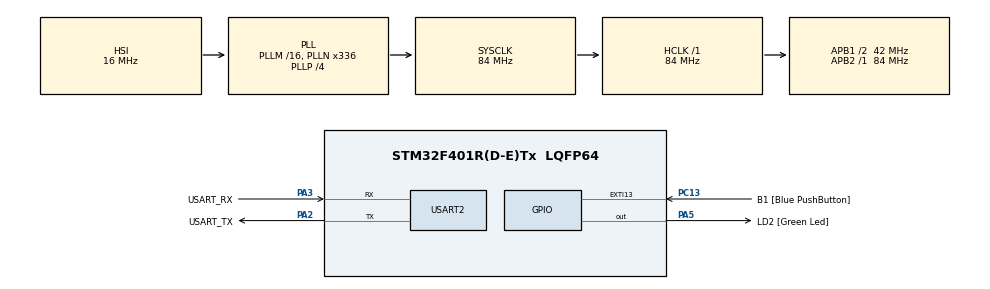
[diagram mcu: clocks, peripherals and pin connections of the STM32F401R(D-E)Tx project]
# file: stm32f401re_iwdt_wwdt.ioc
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Mcu.Family=STM32F4
Mcu.Name=STM32F401R(D-E)Tx
Mcu.Package=LQFP64
NVIC.PriorityGroup=NVIC_PRIORITYGROUP_4
PA13.GPIO_Label=TMS
PA13.Mode=Trace_Asynchronous_SW
PA13.Signal=SYS_JTMS-SWDIO
PA14.GPIO_Label=TCK
PA14.Mode=Trace_Asynchronous_SW
PA14.Signal=SYS_JTCK-SWCLK
PA2.GPIO_Label=USART_TX
PA2.GPIO_Mode=GPIO_MODE_AF_PP
PA2.GPIO_PuPd=GPIO_NOPULL
PA2.GPIO_Speed=GPIO_SPEED_FREQ_LOW
PA2.Mode=Asynchronous
PA2.Signal=USART2_TX
PA3.GPIO_Label=USART_RX
PA3.GPIO_Mode=GPIO_MODE_AF_PP
PA3.GPIO_PuPd=GPIO_NOPULL
PA3.GPIO_Speed=GPIO_SPEED_FREQ_LOW
PA3.Mode=Asynchronous
PA3.Signal=USART2_RX
PA5.GPIO_Label=LD2 [Green Led]
PA5.GPIO_Mode=GPIO_MODE_OUTPUT_PP
PA5.GPIO_PuPd=GPIO_NOPULL
PA5.GPIO_Speed=GPIO_SPEED_FREQ_LOW
PA5.Signal=GPIO_Output
PB3.GPIO_Label=SWO
PB3.Mode=Trace_Asynchronous_SW
PB3.Signal=SYS_JTDO-SWO
PC13-ANTI_TAMP.GPIO_Label=B1 [Blue PushButton]
PC13-ANTI_TAMP.GPIO_ModeDefaultEXTI=GPIO_MODE_IT_FALLING
PC13-ANTI_TAMP.GPIO_PuPd=GPIO_NOPULL
PC13-ANTI_TAMP.Signal=GPXTI13
PC14-OSC32_IN.Mode=LSE-External-Oscillator
PC14-OSC32_IN.Signal=RCC_OSC32_IN
PC15-OSC32_OUT.Mode=LSE-External-Oscillator
PC15-OSC32_OUT.Signal=RCC_OSC32_OUT
PH0\ -\ OSC_IN.Mode=HSE-External-Clock-Source
PH0\ -\ OSC_IN.Signal=RCC_OSC_IN
PH1\ -\ OSC_OUT.Mode=HSE-External-Clock-Source
PH1\ -\ OSC_OUT.Signal=RCC_OSC_OUT
ProjectManager.HeapSize=0x200
ProjectManager.StackSize=0x400
ProjectManager.TargetToolchain=STM32CubeIDE
RCC.48MHZClocksFreq_Value=48000000
RCC.AHBFreq_Value=84000000
RCC.APB1CLKDivider=RCC_HCLK_DIV2
RCC.APB1Freq_Value=42000000
RCC.APB1TimFreq_Value=84000000
RCC.APB2Freq_Value=84000000
RCC.APB2TimFreq_Value=84000000
RCC.CortexFreq_Value=84000000
RCC.HCLKFreq_Value=84000000
RCC.HSE_VALUE=8000000
RCC.HSI_VALUE=16000000
RCC.PLLN=336
RCC.PLLP=RCC_PLLP_DIV4
RCC.PLLQ=7
RCC.SYSCLKFreq_VALUE=84000000
RCC.SYSCLKSource=RCC_SYSCLKSOURCE_PLLCLK
RCC.VCOOutputFreq_Value=336000000
USART2.VirtualMode=VM_ASYNC
VP_WWDG_VS_WWDG.Mode=WWDG_Activate
WWDG.Counter=127
WWDG.Prescaler=WWDG_PRESCALER_8
WWDG.Window=80
board=NUCLEO-F401RE

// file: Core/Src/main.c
/* USER CODE BEGIN Header */
/**
  ******************************************************************************
  * @file           : main.c
  * @brief          : Main program body
  ******************************************************************************
  * @attention
  *
  * Copyright (c) 2025 STMicroelectronics.
  * All rights reserved.
  *
  * This software is licensed under terms that can be found in the LICENSE file
  * in the root directory of this software component.
  * If no LICENSE file comes with this software, it is provided AS-IS.
  *
  ******************************************************************************
  */
/* USER CODE END Header */
#include "main.h"

UART_HandleTypeDef huart2;

WWDG_HandleTypeDef hwwdg;

void SystemClock_Config(void);
static void MX_GPIO_Init(void);
static void MX_USART2_UART_Init(void);
static void MX_WWDG_Init(void);

/* USER CODE BEGIN 0 */
int _write(int file, char *ptr, int len)
{
    HAL_UART_Transmit(&huart2, (uint8_t*)ptr, len, HAL_MAX_DELAY);
    return len;
}

/* USER CODE END 0 */

int main(void)
{

  /* MCU Configuration--------------------------------------------------------*/

  /* Reset of all peripherals, Initializes the Flash interface and the Systick. */
  HAL_Init();

  /* Configure the system clock */
  SystemClock_Config();

  /* Initialize all configured peripherals */
  MX_GPIO_Init();
  MX_USART2_UART_Init();
  MX_WWDG_Init();
  /* USER CODE BEGIN 2 */

  PrintResetReason();

  /* USER CODE END 2 */

  /* Infinite loop */
  while (1)
  {

    /* USER CODE BEGIN 3 */

      // ← SHOW RESET CAUSE
 // HAL_IWDG_Refresh(&hiwdg);   // Kick watchdog
	  HAL_Delay(5);         // 5ms delay to enter refresh window
	  HAL_WWDG_Refresh(&hwwdg);
  //HAL_Delay(500);
//  HAL_GPIO_WritePin(GPIOA, GPIO_PIN_5,GPIO_PIN_SET);               // your code
//  HAL_Delay(8);
//  HAL_GPIO_WritePin(GPIOA, GPIO_PIN_5,GPIO_PIN_RESET);               // your code
//  HAL_Delay(8);
  }
  /* USER CODE END 3 */
}

void SystemClock_Config(void)
{
  RCC_OscInitTypeDef RCC_OscInitStruct = {0};
  RCC_ClkInitTypeDef RCC_ClkInitStruct = {0};

  /** Configure the main internal regulator output voltage
  */
  __HAL_RCC_PWR_CLK_ENABLE();
  __HAL_PWR_VOLTAGESCALING_CONFIG(PWR_REGULATOR_VOLTAGE_SCALE2);

  /** Initializes the RCC Oscillators according to the specified parameters
  * in the RCC_OscInitTypeDef structure.
  */
  RCC_OscInitStruct.OscillatorType = RCC_OSCILLATORTYPE_HSI;
  RCC_OscInitStruct.HSIState = RCC_HSI_ON;
  RCC_OscInitStruct.HSICalibrationValue = RCC_HSICALIBRATION_DEFAULT;
  RCC_OscInitStruct.PLL.PLLState = RCC_PLL_ON;
  RCC_OscInitStruct.PLL.PLLSource = RCC_PLLSOURCE_HSI;
  RCC_OscInitStruct.PLL.PLLM = 16;
  RCC_OscInitStruct.PLL.PLLN = 336;
  RCC_OscInitStruct.PLL.PLLP = RCC_PLLP_DIV4;
  RCC_OscInitStruct.PLL.PLLQ = 7;
  if (HAL_RCC_OscConfig(&RCC_OscInitStruct) != HAL_OK)
  {
    Error_Handler();
  }

  /** Initializes the CPU, AHB and APB buses clocks
  */
  RCC_ClkInitStruct.ClockType = RCC_CLOCKTYPE_HCLK|RCC_CLOCKTYPE_SYSCLK
                              |RCC_CLOCKTYPE_PCLK1|RCC_CLOCKTYPE_PCLK2;
  RCC_ClkInitStruct.SYSCLKSource = RCC_SYSCLKSOURCE_PLLCLK;
  RCC_ClkInitStruct.AHBCLKDivider = RCC_SYSCLK_DIV1;
  RCC_ClkInitStruct.APB1CLKDivider = RCC_HCLK_DIV2;
  RCC_ClkInitStruct.APB2CLKDivider = RCC_HCLK_DIV1;

  if (HAL_RCC_ClockConfig(&RCC_ClkInitStruct, FLASH_LATENCY_2) != HAL_OK)
  {
    Error_Handler();
  }
}

static void MX_USART2_UART_Init(void)
{

  huart2.Instance = USART2;
  huart2.Init.BaudRate = 115200;
  huart2.Init.WordLength = UART_WORDLENGTH_8B;
  huart2.Init.StopBits = UART_STOPBITS_1;
  huart2.Init.Parity = UART_PARITY_NONE;
  huart2.Init.Mode = UART_MODE_TX_RX;
  huart2.Init.HwFlowCtl = UART_HWCONTROL_NONE;
  huart2.Init.OverSampling = UART_OVERSAMPLING_16;
  if (HAL_UART_Init(&huart2) != HAL_OK)
  {
    Error_Handler();
  }

}

static void MX_WWDG_Init(void)
{

  hwwdg.Instance = WWDG;
  hwwdg.Init.Prescaler = WWDG_PRESCALER_8;
  hwwdg.Init.Window = 80;
  hwwdg.Init.Counter = 127;
  hwwdg.Init.EWIMode = WWDG_EWI_DISABLE;
  if (HAL_WWDG_Init(&hwwdg) != HAL_OK)
  {
    Error_Handler();
  }

}

static void MX_GPIO_Init(void)
{
  GPIO_InitTypeDef GPIO_InitStruct = {0};

  /* GPIO Ports Clock Enable */
  __HAL_RCC_GPIOC_CLK_ENABLE();
  __HAL_RCC_GPIOH_CLK_ENABLE();
  __HAL_RCC_GPIOA_CLK_ENABLE();
  __HAL_RCC_GPIOB_CLK_ENABLE();

  /*Configure GPIO pin Output Level */
  HAL_GPIO_WritePin(LD2_GPIO_Port, LD2_Pin, GPIO_PIN_RESET);

  /*Configure GPIO pin : B1_Pin */
  GPIO_InitStruct.Pin = B1_Pin;
  GPIO_InitStruct.Mode = GPIO_MODE_IT_FALLING;
  GPIO_InitStruct.Pull = GPIO_NOPULL;
  HAL_GPIO_Init(B1_GPIO_Port, &GPIO_InitStruct);

  /*Configure GPIO pin : LD2_Pin */
  GPIO_InitStruct.Pin = LD2_Pin;
  GPIO_InitStruct.Mode = GPIO_MODE_OUTPUT_PP;
  GPIO_InitStruct.Pull = GPIO_NOPULL;
  GPIO_InitStruct.Speed = GPIO_SPEED_FREQ_LOW;
  HAL_GPIO_Init(LD2_GPIO_Port, &GPIO_InitStruct);

}

/* USER CODE BEGIN 4 */

void PrintResetReason(void)
{
    if (__HAL_RCC_GET_FLAG(RCC_FLAG_IWDGRST))
        printf("RESET REASON: Independent Watchdog (IWDG)\r\n");

    if (__HAL_RCC_GET_FLAG(RCC_FLAG_WWDGRST))
        printf("RESET REASON: Window Watchdog (WWDG)\r\n");

    if (__HAL_RCC_GET_FLAG(RCC_FLAG_SFTRST))
        printf("RESET REASON: Software Reset\r\n");

    if (__HAL_RCC_GET_FLAG(RCC_FLAG_PORRST))
        printf("RESET REASON: Power-On Reset\r\n");

    if (__HAL_RCC_GET_FLAG(RCC_FLAG_PINRST))
        printf("RESET REASON: Pin Reset (NRST)\r\n");

    if (__HAL_RCC_GET_FLAG(RCC_FLAG_BORRST))
        printf("RESET REASON: Brown-Out Reset\r\n");

    // Clear flags after reading
    __HAL_RCC_CLEAR_RESET_FLAGS();
}

//For IWDG initalization function
//static void MX_IWDG_Init(void)
//{
//
//  /* USER CODE BEGIN IWDG_Init 0 */
//
//  /* USER CODE END IWDG_Init 0 */
//
//  /* USER CODE BEGIN IWDG_Init 1 */
//
//  /* USER CODE END IWDG_Init 1 */
//  hiwdg.Instance = IWDG;
//  hiwdg.Init.Prescaler = IWDG_PRESCALER_16;
//  hiwdg.Init.Reload = 3749;
//  if (HAL_IWDG_Init(&hiwdg) != HAL_OK)
//  {
//    Error_Handler();
//  }
//  /* USER CODE BEGIN IWDG_Init 2 */
//
//  /* USER CODE END IWDG_Init 2 */
//
//}

/* USER CODE END 4 */

void Error_Handler(void)
{
  __disable_irq();
  while (1)
  {
  }
}
